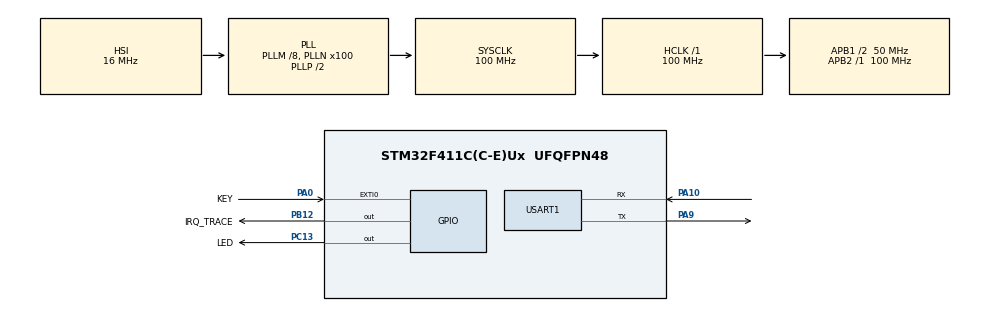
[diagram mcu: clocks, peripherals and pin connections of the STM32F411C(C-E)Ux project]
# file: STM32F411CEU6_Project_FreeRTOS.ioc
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FREERTOS.Tasks01=defaultTask,24,128,StartDefaultTask,Default,NULL,Dynamic,NULL,NULL
Mcu.Family=STM32F4
Mcu.Name=STM32F411C(C-E)Ux
Mcu.Package=UFQFPN48
NVIC.EXTI0_IRQn=true\:5\:0\:false\:false\:true\:true\:true\:true\:true
NVIC.PriorityGroup=NVIC_PRIORITYGROUP_4
NVIC.TIM1_UP_TIM10_IRQn=true\:15\:0\:false\:false\:true\:false\:false\:true\:true
NVIC.TIM2_IRQn=true\:5\:0\:false\:false\:true\:true\:true\:true\:true
NVIC.TimeBase=TIM1_UP_TIM10_IRQn
NVIC.TimeBaseIP=TIM1
PA0-WKUP.GPIO_Label=KEY
PA0-WKUP.GPIO_ModeDefaultEXTI=GPIO_MODE_IT_RISING_FALLING
PA0-WKUP.GPIO_PuPd=GPIO_PULLUP
PA0-WKUP.Signal=GPXTI0
PA10.Mode=Asynchronous
PA10.Signal=USART1_RX
PA13.Mode=Serial_Wire
PA13.Signal=SYS_JTMS-SWDIO
PA14.Mode=Serial_Wire
PA14.Signal=SYS_JTCK-SWCLK
PA9.Mode=Asynchronous
PA9.Signal=USART1_TX
PB12.GPIO_Label=IRQ_TRACE
PB12.GPIO_ModeDefaultOutputPP=GPIO_MODE_OUTPUT_PP
PB12.GPIO_PuPd=GPIO_PULLDOWN
PB12.GPIO_Speed=GPIO_SPEED_FREQ_VERY_HIGH
PB12.Signal=GPIO_Output
PC13-ANTI_TAMP.GPIO_Label=LED
PC13-ANTI_TAMP.PinState=GPIO_PIN_RESET
PC13-ANTI_TAMP.Signal=GPIO_Output
PC14-OSC32_IN.Mode=LSE-External-Oscillator
PC14-OSC32_IN.Signal=RCC_OSC32_IN
PC15-OSC32_OUT.Mode=LSE-External-Oscillator
PC15-OSC32_OUT.Signal=RCC_OSC32_OUT
PH0\ -\ OSC_IN.Mode=HSE-External-Oscillator
PH0\ -\ OSC_IN.Signal=RCC_OSC_IN
PH1\ -\ OSC_OUT.Mode=HSE-External-Oscillator
PH1\ -\ OSC_OUT.Signal=RCC_OSC_OUT
ProjectManager.HeapSize=0x200
ProjectManager.StackSize=0x400
ProjectManager.TargetToolchain=STM32CubeIDE
RCC.48MHZClocksFreq_Value=50000000
RCC.AHBFreq_Value=100000000
RCC.APB1CLKDivider=RCC_HCLK_DIV2
RCC.APB1Freq_Value=50000000
RCC.APB1TimFreq_Value=100000000
RCC.APB2Freq_Value=100000000
RCC.APB2TimFreq_Value=100000000
RCC.CortexFreq_Value=100000000
RCC.HCLKFreq_Value=100000000
RCC.HSE_VALUE=25000000
RCC.HSI_VALUE=16000000
RCC.PLLM=8
RCC.PLLN=100
RCC.SYSCLKFreq_VALUE=100000000
RCC.SYSCLKSource=RCC_SYSCLKSOURCE_PLLCLK
RCC.VCOOutputFreq_Value=200000000
TIM2.AutoReloadPreload=TIM_AUTORELOAD_PRELOAD_ENABLE
TIM2.Period=1000-1
TIM2.Prescaler=10000-1
USART1.VirtualMode=VM_ASYNC
VP_FREERTOS_VS_CMSIS_V2.Mode=CMSIS_V2
VP_SYS_VS_tim1.Mode=TIM1
VP_TIM2_VS_ClockSourceINT.Mode=Internal
board=custom

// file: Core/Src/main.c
/* USER CODE BEGIN Header */
/**
  ******************************************************************************
  * @file           : main.c
  * @brief          : Main program body
  ******************************************************************************
  * @attention
  *
  * Copyright (c) 2025 STMicroelectronics.
  * All rights reserved.
  *
  * This software is licensed under terms that can be found in the LICENSE file
  * in the root directory of this software component.
  * If no LICENSE file comes with this software, it is provided AS-IS.
  *
  ******************************************************************************
  */
/* USER CODE END Header */
#include "main.h"
#include "cmsis_os.h"
#include "tim.h"
#include "usart.h"
#include "gpio.h"

void SystemClock_Config(void);
void MX_FREERTOS_Init(void);

int main(void)
{

  /* MCU Configuration--------------------------------------------------------*/

  /* Reset of all peripherals, Initializes the Flash interface and the Systick. */
  HAL_Init();

  /* Configure the system clock */
  SystemClock_Config();

  /* Initialize all configured peripherals */
  MX_GPIO_Init();
  MX_USART1_UART_Init();
  MX_TIM2_Init();
  /* USER CODE BEGIN 2 */
  HAL_TIM_Base_Start_IT(&htim2);

#if (LOG_OUTPUT_MODE == LOG_ELOG_MODE)
  bsp_elog_init();
#endif

  /* USER CODE END 2 */

  /* Init scheduler */
  osKernelInitialize();

  /* Call init function for freertos objects (in cmsis_os2.c) */
  MX_FREERTOS_Init();

  /* Start scheduler */
  osKernelStart();

  /* We should never get here as control is now taken by the scheduler */

  /* Infinite loop */
  while (1)
  {

  }
}

void SystemClock_Config(void)
{
  RCC_OscInitTypeDef RCC_OscInitStruct = {0};
  RCC_ClkInitTypeDef RCC_ClkInitStruct = {0};

  /** Configure the main internal regulator output voltage
  */
  __HAL_RCC_PWR_CLK_ENABLE();
  __HAL_PWR_VOLTAGESCALING_CONFIG(PWR_REGULATOR_VOLTAGE_SCALE1);

  /** Initializes the RCC Oscillators according to the specified parameters
  * in the RCC_OscInitTypeDef structure.
  */
  RCC_OscInitStruct.OscillatorType = RCC_OSCILLATORTYPE_HSI;
  RCC_OscInitStruct.HSIState = RCC_HSI_ON;
  RCC_OscInitStruct.HSICalibrationValue = RCC_HSICALIBRATION_DEFAULT;
  RCC_OscInitStruct.PLL.PLLState = RCC_PLL_ON;
  RCC_OscInitStruct.PLL.PLLSource = RCC_PLLSOURCE_HSI;
  RCC_OscInitStruct.PLL.PLLM = 8;
  RCC_OscInitStruct.PLL.PLLN = 100;
  RCC_OscInitStruct.PLL.PLLP = RCC_PLLP_DIV2;
  RCC_OscInitStruct.PLL.PLLQ = 4;
  if (HAL_RCC_OscConfig(&RCC_OscInitStruct) != HAL_OK)
  {
    Error_Handler();
  }

  /** Initializes the CPU, AHB and APB buses clocks
  */
  RCC_ClkInitStruct.ClockType = RCC_CLOCKTYPE_HCLK|RCC_CLOCKTYPE_SYSCLK
                              |RCC_CLOCKTYPE_PCLK1|RCC_CLOCKTYPE_PCLK2;
  RCC_ClkInitStruct.SYSCLKSource = RCC_SYSCLKSOURCE_PLLCLK;
  RCC_ClkInitStruct.AHBCLKDivider = RCC_SYSCLK_DIV1;
  RCC_ClkInitStruct.APB1CLKDivider = RCC_HCLK_DIV2;
  RCC_ClkInitStruct.APB2CLKDivider = RCC_HCLK_DIV1;

  if (HAL_RCC_ClockConfig(&RCC_ClkInitStruct, FLASH_LATENCY_3) != HAL_OK)
  {
    Error_Handler();
  }
}

void HAL_TIM_PeriodElapsedCallback(TIM_HandleTypeDef *htim)
{
  if (htim->Instance == TIM1) {
    HAL_IncTick();
  }
  /* USER CODE BEGIN Callback 1 */
  else if(htim->Instance == TIM2)
  {
	  led_tim2_callback();
  }
  /* USER CODE END Callback 1 */
}

void Error_Handler(void)
{
  __disable_irq();
  while (1)
  {
  }
}

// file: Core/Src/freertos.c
/* USER CODE BEGIN Header */
/**
  ******************************************************************************
  * File Name          : freertos.c
  * Description        : Code for freertos applications
  ******************************************************************************
  * @attention
  *
  * Copyright (c) 2025 STMicroelectronics.
  * All rights reserved.
  *
  * This software is licensed under terms that can be found in the LICENSE file
  * in the root directory of this software component.
  * If no LICENSE file comes with this software, it is provided AS-IS.
  *
  ******************************************************************************
  */
/* USER CODE END Header */

#include "FreeRTOS.h"
#include "task.h"
#include "main.h"
#include "cmsis_os.h"

/* USER CODE BEGIN Includes */
#include "bsp_key.h"
#include "bsp_led.h"
/* USER CODE END Includes */

/* USER CODE BEGIN Variables */

//QueueHandle_t g_xQueue_BlockedReceive;  //定义队列

/* USER CODE END Variables */
/* Definitions for defaultTask */
osThreadId_t defaultTaskHandle;
const osThreadAttr_t defaultTask_attributes = {
  .name = "defaultTask",
  .stack_size = 128 * 4,
  .priority = (osPriority_t) osPriorityNormal,
};

/* USER CODE BEGIN FunctionPrototypes */

//void vTaskSender1(void *argument);
//void vTaskSender2(void *argument);
//void vTaskReceiver(void *argument);

/* USER CODE END FunctionPrototypes */

void StartDefaultTask(void *argument);

void MX_FREERTOS_Init(void); /* (MISRA C 2004 rule 8.1) */

void MX_FREERTOS_Init(void) {

  /* USER CODE BEGIN RTOS_QUEUES */
  /* add queues, ... */
//	g_xQueue_BlockedReceive = xQueueCreate(5, sizeof(int32_t));  //创建队列
  /* USER CODE END RTOS_QUEUES */

  /* Create the thread(s) */
  /* creation of defaultTask */
  defaultTaskHandle = osThreadNew(StartDefaultTask, NULL, &defaultTask_attributes);

  /* USER CODE BEGIN RTOS_THREADS */
  /* add threads, ... */
	//判断队列创建是否成功，只有成功创建队列，才会创建对该队列操作的任务
//	if(g_xQueue_BlockedReceive != NULL)
//	{
//		//发送任务
//		xTaskCreate(vTaskSender1, "Sender1", (128*4), NULL, osPriorityNormal, NULL);
//		xTaskCreate(vTaskSender2, "Sender2", (128*4), NULL, osPriorityNormal, NULL);
//		//接收任务
//		xTaskCreate(vTaskReceiver, "Receiver", (128*4), NULL, (osPriorityNormal+1), NULL);
//	}
//  xTaskCreate( key_task_func, "key_task", (128*4), NULL,
//		      (osPriorityNormal+1), &key_task_handle );
//  xTaskCreate( led_task_func, "led_task", (128*4), NULL,
//  		      (osPriorityNormal-1), &led_task_handle );
  /* USER CODE END RTOS_THREADS */

}

void StartDefaultTask(void *argument)
{
  /* USER CODE BEGIN StartDefaultTask */
  /* Infinite loop */
//	key_event_t key_value = KEY_RELEASE;
//	led_event_t led_value = LED_NONE;
  for(;;)
  {
//	  if(key_queue != 0)
//	  {
//		  if(pdPASS == xQueueReceive(key_queue, &key_value, portMAX_DELAY))
//		  {
//			  switch(key_value)
//			  {
//			  	  case KEY_RELEASE:
//			  		  led_value = LED_NONE;
//			  		  break;
//			  	  case KEY_SHORT_PRESS:
//			  		  led_value = LED_ON;
//			  		  break;
//			  	  case KEY_DOUBLE_PRESS:
//			  		  led_value = LED_TOGGLE;
//			  		  break;
//			  	  case KEY_LONG_PRESS:
//			  		  led_value = LED_BLINK_1;
//			  		  break;
//			  	  case KEY_LONG_PRESS_3:
//					  led_value = LED_BLINK_3;
//					  break;
//			  	  case KEY_LONG_PRESS_5:
//					  led_value = LED_BLINK_10;
//					  break;
//			  	  default:
//			  		  break;
//			  }
//			  printf("key_value is [%d], now = [%ld]\r\n", key_value, xTaskGetTickCount());
//
//			  if(pdPASS == xQueueSend(led_queue, &led_value, 0))
//			  {
//				  printf("led_value send successfully\r\n");
//			  }
//		  }
//	  }

//	  printf("Hello SEGGER_RTT, @ %ld\r\n", xTaskGetTickCount());
	  elog_a("ASSERT",  "HEllo World");
	  elog_e("ERROR",   "HEllo World");
	  elog_w("WARNING", "HEllo World");
	  elog_i("INFO",    "HEllo World");
	  elog_d("DEBUG",   "HEllo World");
	  elog_v("VERBOSE", "HEllo World");

	  HAL_GPIO_TogglePin(LED_GPIO_Port, LED_Pin);
	  vTaskDelay(1000);
  }
  /* USER CODE END StartDefaultTask */
}

/* USER CODE BEGIN Application */

//void vTaskSender1(void *argument)
//{
//	int32_t l_ValueToSend = 0;
//	BaseType_t l_xStatus;
//
//	for(;;)
//	{
//		//vTaskDelay(100);
//		l_ValueToSend = 100;
//		//将100写入队列
//		l_xStatus = xQueueSend(g_xQueue_BlockedReceive, &l_ValueToSend, 0);
//		if(l_xStatus != pdPASS)
//		{
//			//队列已满，无法继续写入
//			printf("vTaskSender1 can not send to the queue \r\n");
//			//如何让程序执行到这里？用 vTaskDelay 减慢接收任务接收数据的速度
//		}
//	}
//}
//void vTaskSender2(void *argument)
//{
//	int32_t l_ValueToSend = 0;
//	BaseType_t l_xStatus;
//
//	for(;;)
//	{
//		//vTaskDelay(200);
//		l_ValueToSend = 200;
//		//将200写入队列
//		l_xStatus = xQueueSend(g_xQueue_BlockedReceive, &l_ValueToSend, 0);
//		if(l_xStatus != pdPASS)
//		{
//			printf("vTaskSender2 can not send to the queue \r\n");
//		}
//	}
//}
//void vTaskReceiver(void *argument)
//{
//	int32_t l_ValueOfReceived = 0;
//	BaseType_t l_xStatus;
//	const TickType_t l_xTicksToWait = pdMS_TO_TICKS(100);
//
//	for(;;)
//	{
//		if(uxQueueMessagesWaiting(g_xQueue_BlockedReceive) != 0) //判断队列中是否有数据
//		{
//			printf("Queue is not empty.\r\n");  //这个永远不会被执行，思考为什么？
//			//如何让程序执行到这里？只有当读取一次队列后，队列中还存在数据，才会执行到这里
//		}
//		//读取队列 g_xQueue_BlockedReceive 中的数据，保存在 l_ValueOfReceived 中
//		l_xStatus = xQueueReceive(g_xQueue_BlockedReceive,
//								  &l_ValueOfReceived,
//								  l_xTicksToWait);
//		if(l_xStatus == pdPASS)
//		{
//			//打印从队列中接收的数据
//			printf("Received:%ld.\r\n", l_ValueOfReceived);
//		}
//		else
//		{
//			//这个永远不会被执行，思考为什么？
//			printf("Could not receive from the queue.\r\n");
//			//如何让程序执行到这里？比如用 vTaskDelay
//			//让写入队列任务主动挂起超过 xQueueReceive 的等待时间
//		}
//		//vTaskDelay(500);
//	}
//}

/* USER CODE END Application */
